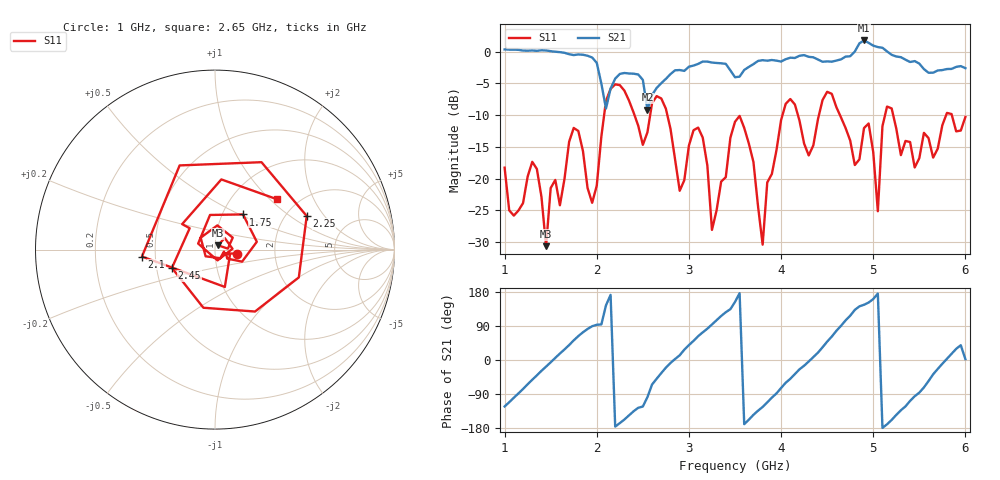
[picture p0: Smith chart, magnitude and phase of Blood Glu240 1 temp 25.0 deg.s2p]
! NanoVNA-App
! Date: 2024-03-21 17:10:20
! Start: 1GHz Stop: 6GHz Points: 101
! S-Parameter data: F S11 S21 S12 S22
# Hz S RI R 50
!	Frequency	S11_Real	S11_Imag	S21_Real	S21_Imag	S12_Real	S12_Imag	S22_Real	S22_Imag
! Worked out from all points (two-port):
!   101 points, 1 GHz to 6 GHz, reference 50 ohm
!   highest |S21| = 1.74 dB at 4.9 GHz (marker M1); lowest = -9.2 dB at 2.55 GHz (marker M2)
!   |S21| within 3 dB of the highest: start of sweep to 1.969 GHz; 4.644 GHz to 5.347 GHz (702.8 MHz wide, 14.1 % of centre)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
!   lowest |S11| = -30.6 dB at 1.45 GHz (marker M3), VSWR 1.06, Z = 51.7 + j2.47 ohm
!   |S11| at or under -10 dB: start of sweep to 2.08 GHz; 2.766 GHz to 4.015 GHz (1.25 GHz wide, 36.9 % of centre); 5.217 GHz to 5.791 GHz (574.7 MHz wide, 10.4 % of centre)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
!   S12 and S22 are empty: the file has one direction only
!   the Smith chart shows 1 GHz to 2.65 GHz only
!   S11 on the Smith chart (normalised r, x): 1 GHz: 1.27, -0.06; 1.75 GHz: 1.25, +0.52; 2.1 GHz: 0.42, -0.04; 2.25 GHz: 2.57, +1.36; 2.45 GHz: 0.60, -0.13; 2.65 GHz: 1.59, +1.11
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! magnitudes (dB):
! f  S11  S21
! 1 GHz  -18.3  0.3
! 1.45 GHz  -30.6  0.2
! 1.75 GHz  -12.0  -0.6
! 1.85 GHz  -15.6  -0.5
! 1.95 GHz  -23.8  -0.9
! 2.1 GHz  -7.8  -9.0
! 2.25 GHz  -5.3  -3.5
! 2.45 GHz  -11.7  -3.6
! 2.55 GHz  -12.7  -9.2
! 2.65 GHz  -7.0  -5.7
! 2.7 GHz  -7.4  -5.0
! 2.9 GHz  -21.9  -2.9
! 3.15 GHz  -13.5  -1.6
! 3.25 GHz  -28.1  -1.7
! 3.5 GHz  -11.1  -4.0
! 3.8 GHz  -30.4  -1.4
! 4.05 GHz  -8.2  -1.2
! 4.35 GHz  -14.8  -0.9
! 4.9 GHz  -12.0  1.7
! 5.05 GHz  -25.1  0.7
! 5.2 GHz  -9.0  -0.5
! 6 GHz  -10.3  -2.6
